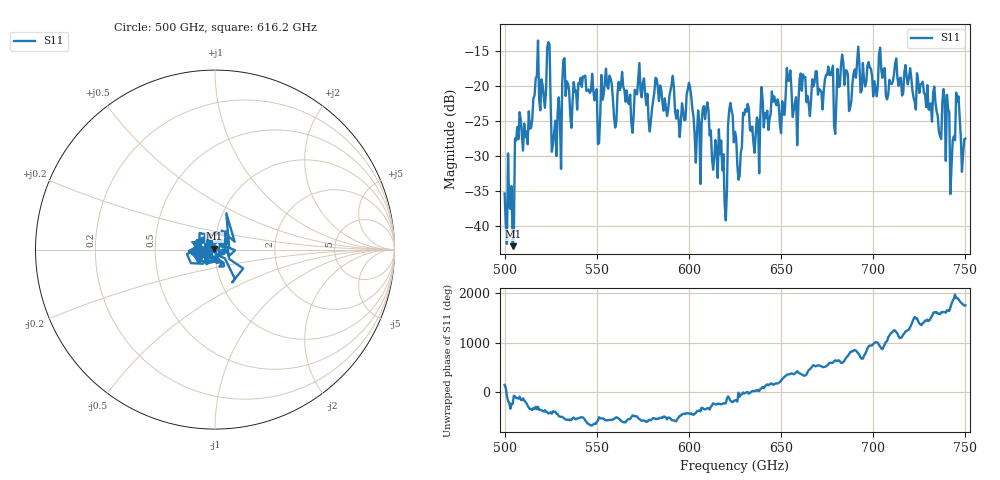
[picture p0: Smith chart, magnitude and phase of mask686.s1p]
!Created with skrf (http://scikit-rf.org).
# GHz S MA R 50.0
!freq magS11 angS11
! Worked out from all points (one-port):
!   401 points, 500 GHz to 750 GHz, reference 50 ohm
!   lowest |S11| = -42.9 dB at 504.4 GHz (marker M1), VSWR 1.01, Z = 49.5 + j0.542 ohm
!   |S11| at or under -10 dB: start of sweep to end of sweep
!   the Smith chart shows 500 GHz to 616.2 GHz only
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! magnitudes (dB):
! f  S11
! 500 GHz  -35.3
! 504.4 GHz  -42.9
! 506.9 GHz  -25.8
! 513.8 GHz  -26.1
! 516.9 GHz  -18.9
! 523.8 GHz  -13.7
! 526.9 GHz  -26.7
! 531.2 GHz  -19.6
! 562.5 GHz  -20.6
! 579.4 GHz  -24.9
! 590.6 GHz  -19.7
! 593.8 GHz  -23.4
! 600 GHz  -19.5
! 605 GHz  -23.5
! 609.4 GHz  -23.2
! 619.4 GHz  -36.9
! 622.5 GHz  -22.4
! 625 GHz  -26.5
! 627.5 GHz  -32.8
! 630.6 GHz  -23.3
! 636.9 GHz  -24.5
! 656.2 GHz  -24.4
! 680 GHz  -22.2
! 683.8 GHz  -16.6
! 687.5 GHz  -23.1
! 691.2 GHz  -16.7
! 718.8 GHz  -19.8
! 750 GHz  -27.5
